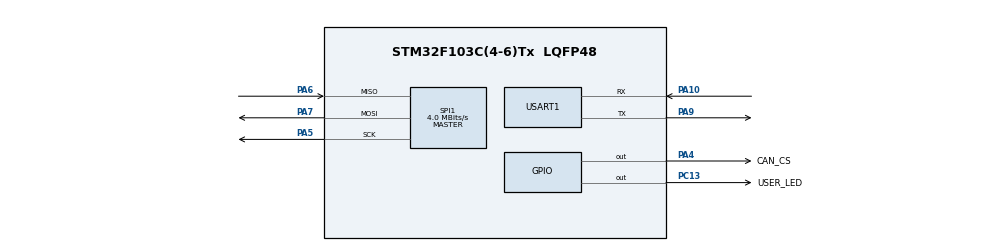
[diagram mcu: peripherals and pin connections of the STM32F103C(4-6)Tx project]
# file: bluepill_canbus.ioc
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Mcu.Family=STM32F1
Mcu.Name=STM32F103C(4-6)Tx
Mcu.Package=LQFP48
NVIC.PriorityGroup=NVIC_PRIORITYGROUP_4
PA10.Mode=Asynchronous
PA10.Signal=USART1_RX
PA4.GPIO_Label=CAN_CS
PA4.Signal=GPIO_Output
PA5.Mode=Full_Duplex_Master
PA5.Signal=SPI1_SCK
PA6.Mode=Full_Duplex_Master
PA6.Signal=SPI1_MISO
PA7.Mode=Full_Duplex_Master
PA7.Signal=SPI1_MOSI
PA9.Mode=Asynchronous
PA9.Signal=USART1_TX
PC13-TAMPER-RTC.GPIO_Label=USER_LED
PC13-TAMPER-RTC.Signal=GPIO_Output
ProjectManager.HeapSize=0x200
ProjectManager.StackSize=0x400
ProjectManager.TargetToolchain=Makefile
RCC.APB1Freq_Value=8000000
RCC.APB2Freq_Value=8000000
SPI1.CalculateBaudRate=4.0 MBits/s
SPI1.Direction=SPI_DIRECTION_2LINES
SPI1.Mode=SPI_MODE_MASTER
SPI1.VirtualType=VM_MASTER
USART1.VirtualMode=VM_ASYNC
VP_SYS_VS_ND.Mode=No_Debug
board=custom

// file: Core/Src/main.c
/* USER CODE BEGIN Header */
/**
  ******************************************************************************
  * @file           : main.c
  * @brief          : Main program body
  ******************************************************************************
  * @attention
  *
  * Copyright (c) 2024 STMicroelectronics.
  * All rights reserved.
  *
  * This software is licensed under terms that can be found in the LICENSE file
  * in the root directory of this software component.
  * If no LICENSE file comes with this software, it is provided AS-IS.
  *
  ******************************************************************************
  */
/* USER CODE END Header */
#include "main.h"
#include "spi.h"
#include "usart.h"
#include "gpio.h"

/* USER CODE BEGIN Includes */
#include "CANSPI.h"
#include "MCP2515.h"
#include <stdio.h>
/* USER CODE END Includes */

/* USER CODE BEGIN PV */
uCAN_MSG txMessage;
uCAN_MSG rxMessage;
bool recieved_message = false;
bool init = false;
uCAN_MSG rx_message_array[100];
uint8_t i = 0;
uint8_t last_byte_message = 0;
/* USER CODE END PV */

void SystemClock_Config(void);
/* USER CODE BEGIN PFP */
#define PUTCHAR_PROTOTYPE int __io_putchar(int ch)
/* USER CODE END PFP */

int main(void)
{

  /* MCU Configuration--------------------------------------------------------*/

  /* Reset of all peripherals, Initializes the Flash interface and the Systick. */
  HAL_Init();

  /* Configure the system clock */
  SystemClock_Config();

  /* Initialize all configured peripherals */
  MX_GPIO_Init();
  MX_SPI1_Init();
  MX_USART1_UART_Init();
  /* USER CODE BEGIN 2 */
  if(!CANSPI_Initialize()){
	  init = true;
    printf("\r\nCANbus Init Successful\r\n\n\n");
  }
  else
  {
    printf("\r\nCANbus Init Failed\r\n\n\n");
  }
  /* USER CODE END 2 */

  /* Infinite loop */
  /* USER CODE BEGIN WHILE */
  while (1)
  {
    if(CANSPI_Receive(&rxMessage))
    {
      printf("Received message...\r\n");
    	rx_message_array[i] = rxMessage;
    	i++;
    	recieved_message = true;
    	txMessage.frame.idType = rxMessage.frame.idType;
    	txMessage.frame.id = rxMessage.frame.id;
    	txMessage.frame.dlc = rxMessage.frame.dlc;
    	txMessage.frame.data0++;
    	txMessage.frame.data1 = rxMessage.frame.data1;
    	txMessage.frame.data2 = rxMessage.frame.data2;
    	txMessage.frame.data3 = rxMessage.frame.data3;
    	txMessage.frame.data4 = rxMessage.frame.data4;
    	txMessage.frame.data5 = rxMessage.frame.data5;
    	txMessage.frame.data6 = rxMessage.frame.data6;
    	txMessage.frame.data7 = rxMessage.frame.data7;
    	CANSPI_Transmit(&txMessage);
    }

    txMessage.frame.idType = dSTANDARD_CAN_MSG_ID_2_0B;
    txMessage.frame.id = 0x0A;
    txMessage.frame.dlc = 8;
    txMessage.frame.data0 = 0;
    txMessage.frame.data1 = 0;
    txMessage.frame.data2 = 0;
    txMessage.frame.data3 = 0;
    txMessage.frame.data4 = 0;
    txMessage.frame.data5 = 0;
    txMessage.frame.data6 = 0;
    txMessage.frame.data7 = ++last_byte_message; // assume overflow is normal lol
    CANSPI_Transmit(&txMessage);
    printf("sent message with last byte: %d\r\n",last_byte_message);

    HAL_GPIO_TogglePin(USER_LED_GPIO_Port, USER_LED_Pin);
    HAL_Delay(1000);
    /* USER CODE END WHILE */

  }
}

void SystemClock_Config(void)
{
  RCC_OscInitTypeDef RCC_OscInitStruct = {0};
  RCC_ClkInitTypeDef RCC_ClkInitStruct = {0};

  /** Initializes the RCC Oscillators according to the specified parameters
  * in the RCC_OscInitTypeDef structure.
  */
  RCC_OscInitStruct.OscillatorType = RCC_OSCILLATORTYPE_HSI;
  RCC_OscInitStruct.HSIState = RCC_HSI_ON;
  RCC_OscInitStruct.HSICalibrationValue = RCC_HSICALIBRATION_DEFAULT;
  RCC_OscInitStruct.PLL.PLLState = RCC_PLL_NONE;
  if (HAL_RCC_OscConfig(&RCC_OscInitStruct) != HAL_OK)
  {
    Error_Handler();
  }

  /** Initializes the CPU, AHB and APB buses clocks
  */
  RCC_ClkInitStruct.ClockType = RCC_CLOCKTYPE_HCLK|RCC_CLOCKTYPE_SYSCLK
                              |RCC_CLOCKTYPE_PCLK1|RCC_CLOCKTYPE_PCLK2;
  RCC_ClkInitStruct.SYSCLKSource = RCC_SYSCLKSOURCE_HSI;
  RCC_ClkInitStruct.AHBCLKDivider = RCC_SYSCLK_DIV1;
  RCC_ClkInitStruct.APB1CLKDivider = RCC_HCLK_DIV1;
  RCC_ClkInitStruct.APB2CLKDivider = RCC_HCLK_DIV1;

  if (HAL_RCC_ClockConfig(&RCC_ClkInitStruct, FLASH_LATENCY_0) != HAL_OK)
  {
    Error_Handler();
  }
}

/* USER CODE BEGIN 4 */
/**
  * @brief  Retargets the C library printf function to the USART.
  * @retval None
  */
PUTCHAR_PROTOTYPE
{
  /* Place your implementation of fputc here */
  /* e.g. write a character to the USART1 and Loop until the end of transmission */
  HAL_UART_Transmit(&huart1, (uint8_t *)&ch, 1, 0xFFFF);

  return ch;
}
/* USER CODE END 4 */

void Error_Handler(void)
{
  __disable_irq();
  while (1)
  {
  }
}
